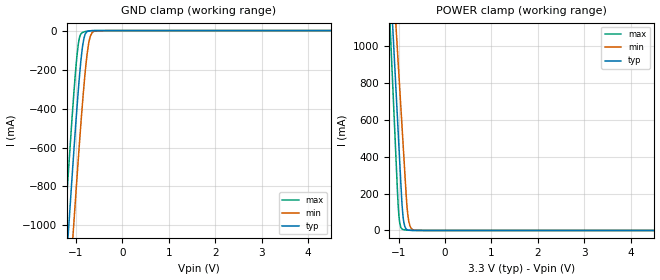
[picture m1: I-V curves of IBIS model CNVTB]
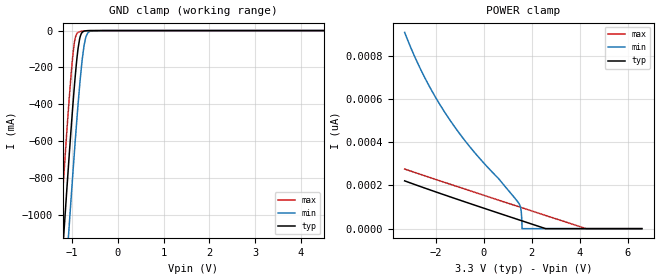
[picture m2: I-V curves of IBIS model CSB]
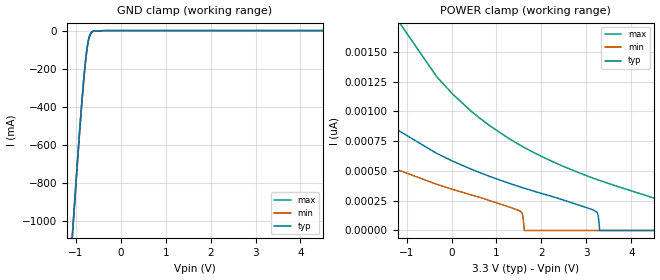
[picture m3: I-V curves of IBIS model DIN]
|IBIS File - Generated by SIMDE
|http://www.iometh.com/Product/SIMDE
[IBIS ver]   3.2
[File name]   max11300tqfn.ibs
[File Rev]   1.0
[Date]   2014/02/11 04:01:38 PM Tuesday
[Source]   Data was acquired from SIMDE software of IO Methodology with SPE
   CTRE simulation.
[Disclaimer] Maxim Integrated Products hereby grants the user of this IBIS mo
                del a non-exclusive, nontransferable license to use this IBIS mo
                del under the following terms. Before using this IBIS model, the
                user should read this license. If the user does not accept these
                terms, the IBIS model should be returned to Maxim Integrated Pro
                ducts within 30 days. The user is granted this license only to u
                se the IBIS model and is not granted rights to sell, load, rent,
                lease or license the IBIS model in whole or in part, or in modif
                ied form to anyone other than user. User may modify the IBIS mod
                el to suit its specific applications but rights to derivative wo
                rks and such modifications shall belong to Maxim Integrated Prod
                ucts. This IBIS model is provided on an "AS IS" basis and Maxim
                Integrated Products makes absolutely no warranty with respect to
                the information contained herein.MAXIM INTEGRATED PRODUCTS DISCL
                AIMS AND CUSTOMER WAIVES ALL WARRANTIES, EXPRESS OR IMPLIED, INC
                LUDING WARRANTIES OF MERCHANTABILITY OR FITNESS FOR A PARTICULAR
                PURPOSE. The entire risk as to quality and performance is with t
                he Customer. ACCORDINGLY, IN NO EVENT SHALL THE COMPANY BE LIABL
                E FOR ANY DAMAGES, WHETHER IN CONTRACT OR TORT,INCLUDING ANY LOS
                T PROFITS OR OTHER INCIDENTAL, CONSEQUENTIAL, EXEMPLARY, OR PUNI
                TIVE DAMAGES ARISING OUT OF THE USE OR APPLICATION OF THE IBIS m
                odel provided in this package.Further, Maxim Integrated Products
                reserves the right to make changes without notice to any product
                herein to improve reliability, function, or design. Maxim Integr
                ated Products does not convey any license under patent rights or
                any other intellectual property rights, including those of third
                parties. Maxim Integrated Products is not obligated to provide m
                aintenance or support for the licensed IBIS model.
[Copyright]   All Rights Reserved
|   Component max11300tqfn
[Component]   max11300tqfn
[Manufacturer]  Maxim Integrated Products
[Package]
| variable   typ   min   max
R_pkg   0m   0m   0m
L_pkg   0n   0n   0n
C_pkg   0m   0m   0m
|-------------------------PIN------------------------------------------------
[Pin]  signal_name   model_name   R_pin   L_pin   C_pin
01   DGND   GND   0.031   0.597n   0.118p
02   DVDD   POWER   0.028   0.557n   0.111p
03   DIN   DIN   0.05   0.884n   0.110p
04   SCLK   SCLK   0.048   0.851n   0.110p
05   CSB   CSB   0.050   0.900n   0.110p
06   DOUT   DOUT   0.048   0.853n   0.111p
07   INTB   INTB   0.051   0.922n   0.110p
08   CNVTB   CNVTB   0.057   1.052n   0.110p
09   ADC_INT_REF   NC
10   ADC_EXT_REF   NC
11   DAC_REF   NC
12   D0P   NC
13   D0N   NC
14   AVDD   POWER
15   AGND   GND
16   PORT0   NC
17   PORT1   NC
18   PORT2   NC
19   D1P   NC
20   D1N   NC
21   PORT3   NC
22   AVDDIO   POWER
23   PORT4   NC
24   PORT5   NC
25   PORT6   NC
26   PORT7   NC
27   PORT8   NC
28   PORT9   NC
29   PORT10   NC
30   PORT11   NC
31   PORT12   NC
32   AGND1   GND
33   AVDDIO   POWER
34   PORT13   NC
35   PORT14   NC
36   PORT15   NC
37   PORT16   NC
38   PORT17   NC
39   PORT18   NC
40   PORT19   NC
EP   AVSSIO   POWER
| Models and submodels in the file (6): CNVTB (Input), CSB (Input), DIN (Input), DOUT (Output), INTB (Open_drain), SCLK (Input)
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[Model]   CNVTB
Model_type   Input
Vinl = 0.99
Vinh = 2.31
|   typ   min   max
C_comp   1.774e-12   2.475e-12   1.263e-12
|C_comp (ON state)   1.774e-12   2.475e-12   1.263e-12
|C_comp (OFF state)   1.774e-12   2.475e-12   1.263e-12
[Voltage Range]   3.3   1.62   5.5
[Temperature Range]   25   105   -45
[Power Clamp Reference]   3.3   1.62   5.5
[GND Clamp Reference]   0   0   0
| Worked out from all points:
|   GND clamp passes 1 mA (typ) near -0.69 V on its own axis
|   POWER clamp passes 1 mA (typ) near -0.75 V on its own axis
[GND Clamp]
|   Voltage   I(typ)   I(min)   I(max)
-3.3V     -8.617A    -8.751A    -8.518A
-1.176V   -1.072A    -1.431A    -765.4mA
-1.082V   -739.1mA   -1.108A    -435.3mA
-1.045V   -609.3mA   -979mA     -312.6mA
-951.5mV  -306.3mA   -658.8mA   -69.83mA
-918.6mV  -212.7mA   -550.5mA   -29.79mA
-857mV    -75.87mA   -359.5mA   -9.116mA
-808.4mV  -21.51mA   -225.8mA   -5.241mA
-729.1mV  -2.267mA   -67.22mA   -1.844mA
-688.6mV  -883.2uA   -26.76mA   -922.3uA
-605.9mV  -149.9uA   -2.676mA   -163.1uA
6.597V    0A         0A         0A
[POWER Clamp]
|   Voltage   I(typ)   I(min)   I(max)
-3.3V     11.66A     10.48A     13.11A
-1.286V   1.883A     2.07A      1.698A
-1.04V    685.6mA    1.04A      301.2mA
-1.006V   525.6mA    902.6mA    128.3mA
-990mV    445.7mA    833.8mA    72.44mA
-951.5mV  259.1mA    673.2mA    17.07mA
-907.5mV  85.62mA    489.8mA    5.352mA
-864.6mV  21.44mA    311mA      3.118mA
-805.2mV  3.349mA    96.24mA    1.755mA
-758.2mV  1.126mA    27.61mA    1.014mA
-691.8mV  341.2uA    4.039mA    356.7uA
6.597V    -3.321nA   -1.737nA   -5.535nA
[Model]   CSB
Model_type   Input
Vinl = 0.99
Vinh = 2.31
|   typ   min   max
C_comp   1.258e-12   1.782e-12   8.821e-13
|C_comp (ON state)   1.258e-12   1.782e-12   8.821e-13
|C_comp (OFF state)   1.258e-12   1.782e-12   8.821e-13
[Voltage Range]   3.3   1.62   5.5
[Temperature Range]   25   105   -45
[Power Clamp Reference]   3.3   1.62   5.5
[GND Clamp Reference]   0   0   0
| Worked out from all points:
|   GND clamp passes 1 mA (typ) near -0.69 V on its own axis
[GND Clamp]
|   Voltage   I(typ)   I(min)   I(max)
-3.3V     -8.975A    -9.2A      -8.794A
-1.254V   -1.387A    -1.759A    -1.072A
-1.111V   -861.6mA   -1.244A    -546.3mA
-1.059V   -676.3mA   -1.059A    -368.7mA
-996.6mV  -461.3mA   -835.4mA   -176.6mA
-951.5mV  -317.4mA   -678.9mA   -73.55mA
-863.5mV  -92.88mA   -393.1mA   -9.627mA
-818.2mV  -31.42mA   -262.4mA   -5.406mA
-732.3mV  -2.856mA   -77.74mA   -1.769mA
-689.7mV  -1.046mA   -31.02mA   -879.9uA
-604.3mV  -158.4uA   -3.316mA   -159.5uA
6.6V      0A         0A         0A
[POWER Clamp]
|   Voltage   I(typ)   I(min)   I(max)
-3.3V     221pA      907.3pA    275.7pA
-2.851V   203pA      788.1pA    258.9pA
-2.36V    183.8pA    676.9pA    240.7pA
-1.429V   148.1pA    505pA      206.5pA
-563.8mV  115.7pA    376.3pA    174.9pA
1.475V    40.54pA    115.6pA    101pA
1.56V     37.44pA    83.42pA    97.97pA
1.581V    36.67pA    54.2pA     97.21pA
1.602V    35.9pA     0A         96.45pA
2.584V    72.58fA    0A         61pA
4.274V    0A         0A         58.41fA
6.6V      0A         0A         0A
[Model]   DIN
Model_type   Input
Vinl = 0.99
Vinh = 2.31
|   typ   min   max
C_comp   1.694e-12   1.949e-12   1.506e-12
|C_comp (ON state)   1.694e-12   1.949e-12   1.506e-12
|C_comp (OFF state)   1.694e-12   1.949e-12   1.506e-12
[Voltage Range]   3.3   1.62   5.5
[Temperature Range]   105   105   105
[Power Clamp Reference]   3.3   1.62   5.5
[GND Clamp Reference]   0   0   0
[GND Clamp]
|   Voltage   I(typ)   I(min)   I(max)
-3.3V     -8.746A    -8.752A    -8.738A
-995.5mV  -802.8mA   -808.6mA   -795.2mA
-924mV    -562.7mA   -568.2mA   -555.6mA
-863.5mV  -373.8mA   -378.8mA   -367.3mA
-814mV    -235.9mA   -240.2mA   -230.2mA
-770mV    -134mA     -137.4mA   -129.6mA
-732.6mV  -69.92mA   -72.28mA   -66.96mA
-712.8mV  -46.01mA   -47.77mA   -43.84mA
-693mV    -28.82mA   -30.04mA   -27.28mA
-656.7mV  -11.09mA   -11.62mA   -10.46mA
-610.5mV  -3.03mA    -3.178mA   -2.848mA
6.6V      0A         0A         0A
[POWER Clamp]
|   Voltage   I(typ)   I(min)   I(max)
-3.3V     1.695nA    958.4pA    31.57nA
-2.134V   1.131nA    671.7pA    2.505nA
-1.292V   864.8pA    522.7pA    1.818nA
852.5mV   453.4pA    250.1pA    879pA
1.518V    366.7pA    165pA      718.1pA
1.584V    358.8pA    126.7pA    704pA
1.618V    354.7pA    310.6fA    696.9pA
3.227V    156.5pA    0A         429.1pA
3.297V    0A         0A         419.8pA
5.396V    0A         0A         164.7pA
5.495V    0A         0A         0A
6.6V      0A         0A         0A
